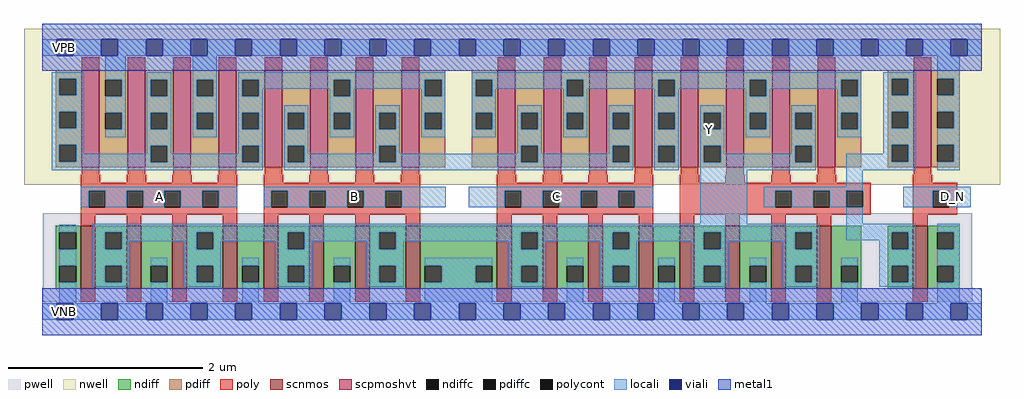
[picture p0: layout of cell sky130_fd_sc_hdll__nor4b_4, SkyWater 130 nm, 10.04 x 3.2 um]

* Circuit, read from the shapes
.subckt sky130_fd_sc_hdll__nor4b_4 A B C D_N VGND VNB VPB VPWR Y
XM1 Y A VGND VNB sky130_fd_pr__nfet_01v8 w=0.65 l=0.15 m=4
XM2 Y B VGND VNB sky130_fd_pr__nfet_01v8 w=0.65 l=0.15 m=4
XM3 Y C VGND VNB sky130_fd_pr__nfet_01v8 w=0.65 l=0.15 m=4
XM4 Y n1 VGND VNB sky130_fd_pr__nfet_01v8 w=0.65 l=0.15 m=4
XM5 VGND D_N n1 VNB sky130_fd_pr__nfet_01v8 w=0.65 l=0.15
XM6 VPWR A n2 VPB sky130_fd_pr__pfet_01v8_hvt w=1 l=0.18 m=4
XM7 n3 B n2 VPB sky130_fd_pr__pfet_01v8_hvt w=1 l=0.18 m=4
XM8 n3 C n4 VPB sky130_fd_pr__pfet_01v8_hvt w=1 l=0.18 m=4
XM9 Y n1 n4 VPB sky130_fd_pr__pfet_01v8_hvt w=1 l=0.18 m=4
XM10 VPWR D_N n1 VPB sky130_fd_pr__pfet_01v8_hvt w=1 l=0.18
.ends

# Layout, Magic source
magic
tech sky130A
magscale 1 2
<< nwell >>
rect -38 261 1970 582
<< pwell >>
rect 1 21 1913 203
rect 29 -17 63 21
<< scnmos >>
rect 79 47 109 177
rect 173 47 203 177
rect 267 47 297 177
rect 371 47 401 177
rect 455 47 485 177
rect 549 47 579 177
rect 643 47 673 177
rect 747 47 777 177
rect 935 47 965 177
rect 1029 47 1059 177
rect 1123 47 1153 177
rect 1227 47 1257 177
rect 1311 47 1341 177
rect 1405 47 1435 177
rect 1499 47 1529 177
rect 1593 47 1623 177
rect 1791 47 1821 177
<< scpmoshvt >>
rect 81 297 117 497
rect 175 297 211 497
rect 269 297 305 497
rect 363 297 399 497
rect 457 297 493 497
rect 551 297 587 497
rect 645 297 681 497
rect 739 297 775 497
rect 937 297 973 497
rect 1031 297 1067 497
rect 1125 297 1161 497
rect 1219 297 1255 497
rect 1313 297 1349 497
rect 1407 297 1443 497
rect 1501 297 1537 497
rect 1595 297 1631 497
rect 1793 297 1829 497
<< ndiff >>
rect 27 163 79 177
rect 27 129 35 163
rect 69 129 79 163
rect 27 95 79 129
rect 27 61 35 95
rect 69 61 79 95
rect 27 47 79 61
rect 109 163 173 177
rect 109 129 129 163
rect 163 129 173 163
rect 109 95 173 129
rect 109 61 129 95
rect 163 61 173 95
rect 109 47 173 61
rect 203 95 267 177
rect 203 61 223 95
rect 257 61 267 95
rect 203 47 267 61
rect 297 163 371 177
rect 297 129 317 163
rect 351 129 371 163
rect 297 95 371 129
rect 297 61 317 95
rect 351 61 371 95
rect 297 47 371 61
rect 401 95 455 177
rect 401 61 411 95
rect 445 61 455 95
rect 401 47 455 61
rect 485 163 549 177
rect 485 129 505 163
rect 539 129 549 163
rect 485 95 549 129
rect 485 61 505 95
rect 539 61 549 95
rect 485 47 549 61
rect 579 95 643 177
rect 579 61 599 95
rect 633 61 643 95
rect 579 47 643 61
rect 673 163 747 177
rect 673 129 693 163
rect 727 129 747 163
rect 673 95 747 129
rect 673 61 693 95
rect 727 61 747 95
rect 673 47 747 61
rect 777 95 935 177
rect 777 61 787 95
rect 821 61 891 95
rect 925 61 935 95
rect 777 47 935 61
rect 965 163 1029 177
rect 965 129 985 163
rect 1019 129 1029 163
rect 965 95 1029 129
rect 965 61 985 95
rect 1019 61 1029 95
rect 965 47 1029 61
rect 1059 95 1123 177
rect 1059 61 1079 95
rect 1113 61 1123 95
rect 1059 47 1123 61
rect 1153 163 1227 177
rect 1153 129 1173 163
rect 1207 129 1227 163
rect 1153 95 1227 129
rect 1153 61 1173 95
rect 1207 61 1227 95
rect 1153 47 1227 61
rect 1257 95 1311 177
rect 1257 61 1267 95
rect 1301 61 1311 95
rect 1257 47 1311 61
rect 1341 163 1405 177
rect 1341 129 1361 163
rect 1395 129 1405 163
rect 1341 95 1405 129
rect 1341 61 1361 95
rect 1395 61 1405 95
rect 1341 47 1405 61
rect 1435 95 1499 177
rect 1435 61 1455 95
rect 1489 61 1499 95
rect 1435 47 1499 61
rect 1529 163 1593 177
rect 1529 129 1549 163
rect 1583 129 1593 163
rect 1529 95 1593 129
rect 1529 61 1549 95
rect 1583 61 1593 95
rect 1529 47 1593 61
rect 1623 95 1685 177
rect 1623 61 1643 95
rect 1677 61 1685 95
rect 1623 47 1685 61
rect 1739 163 1791 177
rect 1739 129 1747 163
rect 1781 129 1791 163
rect 1739 95 1791 129
rect 1739 61 1747 95
rect 1781 61 1791 95
rect 1739 47 1791 61
rect 1821 163 1887 177
rect 1821 129 1841 163
rect 1875 129 1887 163
rect 1821 95 1887 129
rect 1821 61 1841 95
rect 1875 61 1887 95
rect 1821 47 1887 61
<< pdiff >>
rect 27 479 81 497
rect 27 445 35 479
rect 69 445 81 479
rect 27 411 81 445
rect 27 377 35 411
rect 69 377 81 411
rect 27 343 81 377
rect 27 309 35 343
rect 69 309 81 343
rect 27 297 81 309
rect 117 477 175 497
rect 117 443 129 477
rect 163 443 175 477
rect 117 409 175 443
rect 117 375 129 409
rect 163 375 175 409
rect 117 297 175 375
rect 211 477 269 497
rect 211 443 223 477
rect 257 443 269 477
rect 211 409 269 443
rect 211 375 223 409
rect 257 375 269 409
rect 211 341 269 375
rect 211 307 223 341
rect 257 307 269 341
rect 211 297 269 307
rect 305 477 363 497
rect 305 443 317 477
rect 351 443 363 477
rect 305 409 363 443
rect 305 375 317 409
rect 351 375 363 409
rect 305 297 363 375
rect 399 477 457 497
rect 399 443 411 477
rect 445 443 457 477
rect 399 409 457 443
rect 399 375 411 409
rect 445 375 457 409
rect 399 341 457 375
rect 399 307 411 341
rect 445 307 457 341
rect 399 297 457 307
rect 493 409 551 497
rect 493 375 505 409
rect 539 375 551 409
rect 493 341 551 375
rect 493 307 505 341
rect 539 307 551 341
rect 493 297 551 307
rect 587 477 645 497
rect 587 443 599 477
rect 633 443 645 477
rect 587 409 645 443
rect 587 375 599 409
rect 633 375 645 409
rect 587 297 645 375
rect 681 409 739 497
rect 681 375 693 409
rect 727 375 739 409
rect 681 341 739 375
rect 681 307 693 341
rect 727 307 739 341
rect 681 297 739 307
rect 775 477 829 497
rect 775 443 787 477
rect 821 443 829 477
rect 775 409 829 443
rect 775 375 787 409
rect 821 375 829 409
rect 775 297 829 375
rect 883 477 937 497
rect 883 443 891 477
rect 925 443 937 477
rect 883 409 937 443
rect 883 375 891 409
rect 925 375 937 409
rect 883 297 937 375
rect 973 409 1031 497
rect 973 375 985 409
rect 1019 375 1031 409
rect 973 341 1031 375
rect 973 307 985 341
rect 1019 307 1031 341
rect 973 297 1031 307
rect 1067 477 1125 497
rect 1067 443 1079 477
rect 1113 443 1125 477
rect 1067 409 1125 443
rect 1067 375 1079 409
rect 1113 375 1125 409
rect 1067 297 1125 375
rect 1161 409 1219 497
rect 1161 375 1173 409
rect 1207 375 1219 409
rect 1161 341 1219 375
rect 1161 307 1173 341
rect 1207 307 1219 341
rect 1161 297 1219 307
rect 1255 477 1313 497
rect 1255 443 1267 477
rect 1301 443 1313 477
rect 1255 409 1313 443
rect 1255 375 1267 409
rect 1301 375 1313 409
rect 1255 341 1313 375
rect 1255 307 1267 341
rect 1301 307 1313 341
rect 1255 297 1313 307
rect 1349 409 1407 497
rect 1349 375 1361 409
rect 1395 375 1407 409
rect 1349 341 1407 375
rect 1349 307 1361 341
rect 1395 307 1407 341
rect 1349 297 1407 307
rect 1443 477 1501 497
rect 1443 443 1455 477
rect 1489 443 1501 477
rect 1443 409 1501 443
rect 1443 375 1455 409
rect 1489 375 1501 409
rect 1443 297 1501 375
rect 1537 409 1595 497
rect 1537 375 1549 409
rect 1583 375 1595 409
rect 1537 341 1595 375
rect 1537 307 1549 341
rect 1583 307 1595 341
rect 1537 297 1595 307
rect 1631 477 1685 497
rect 1631 443 1643 477
rect 1677 443 1685 477
rect 1631 409 1685 443
rect 1631 375 1643 409
rect 1677 375 1685 409
rect 1631 297 1685 375
rect 1739 479 1793 497
rect 1739 445 1747 479
rect 1781 445 1793 479
rect 1739 411 1793 445
rect 1739 377 1747 411
rect 1781 377 1793 411
rect 1739 343 1793 377
rect 1739 309 1747 343
rect 1781 309 1793 343
rect 1739 297 1793 309
rect 1829 479 1887 497
rect 1829 445 1841 479
rect 1875 445 1887 479
rect 1829 411 1887 445
rect 1829 377 1841 411
rect 1875 377 1887 411
rect 1829 343 1887 377
rect 1829 309 1841 343
rect 1875 309 1887 343
rect 1829 297 1887 309
<< ndiffc >>
rect 35 129 69 163
rect 35 61 69 95
rect 129 129 163 163
rect 129 61 163 95
rect 223 61 257 95
rect 317 129 351 163
rect 317 61 351 95
rect 411 61 445 95
rect 505 129 539 163
rect 505 61 539 95
rect 599 61 633 95
rect 693 129 727 163
rect 693 61 727 95
rect 787 61 821 95
rect 891 61 925 95
rect 985 129 1019 163
rect 985 61 1019 95
rect 1079 61 1113 95
rect 1173 129 1207 163
rect 1173 61 1207 95
rect 1267 61 1301 95
rect 1361 129 1395 163
rect 1361 61 1395 95
rect 1455 61 1489 95
rect 1549 129 1583 163
rect 1549 61 1583 95
rect 1643 61 1677 95
rect 1747 129 1781 163
rect 1747 61 1781 95
rect 1841 129 1875 163
rect 1841 61 1875 95
<< pdiffc >>
rect 35 445 69 479
rect 35 377 69 411
rect 35 309 69 343
rect 129 443 163 477
rect 129 375 163 409
rect 223 443 257 477
rect 223 375 257 409
rect 223 307 257 341
rect 317 443 351 477
rect 317 375 351 409
rect 411 443 445 477
rect 411 375 445 409
rect 411 307 445 341
rect 505 375 539 409
rect 505 307 539 341
rect 599 443 633 477
rect 599 375 633 409
rect 693 375 727 409
rect 693 307 727 341
rect 787 443 821 477
rect 787 375 821 409
rect 891 443 925 477
rect 891 375 925 409
rect 985 375 1019 409
rect 985 307 1019 341
rect 1079 443 1113 477
rect 1079 375 1113 409
rect 1173 375 1207 409
rect 1173 307 1207 341
rect 1267 443 1301 477
rect 1267 375 1301 409
rect 1267 307 1301 341
rect 1361 375 1395 409
rect 1361 307 1395 341
rect 1455 443 1489 477
rect 1455 375 1489 409
rect 1549 375 1583 409
rect 1549 307 1583 341
rect 1643 443 1677 477
rect 1643 375 1677 409
rect 1747 445 1781 479
rect 1747 377 1781 411
rect 1747 309 1781 343
rect 1841 445 1875 479
rect 1841 377 1875 411
rect 1841 309 1875 343
<< poly >>
rect 81 497 117 523
rect 175 497 211 523
rect 269 497 305 523
rect 363 497 399 523
rect 457 497 493 523
rect 551 497 587 523
rect 645 497 681 523
rect 739 497 775 523
rect 937 497 973 523
rect 1031 497 1067 523
rect 1125 497 1161 523
rect 1219 497 1255 523
rect 1313 497 1349 523
rect 1407 497 1443 523
rect 1501 497 1537 523
rect 1595 497 1631 523
rect 1793 497 1829 523
rect 81 282 117 297
rect 175 282 211 297
rect 269 282 305 297
rect 363 282 399 297
rect 457 282 493 297
rect 551 282 587 297
rect 645 282 681 297
rect 739 282 775 297
rect 937 282 973 297
rect 1031 282 1067 297
rect 1125 282 1161 297
rect 1219 282 1255 297
rect 1313 282 1349 297
rect 1407 282 1443 297
rect 1501 282 1537 297
rect 1595 282 1631 297
rect 1793 282 1829 297
rect 79 265 119 282
rect 173 265 213 282
rect 267 265 307 282
rect 361 265 401 282
rect 79 249 401 265
rect 79 215 95 249
rect 129 215 173 249
rect 207 215 251 249
rect 285 215 329 249
rect 363 215 401 249
rect 79 199 401 215
rect 79 177 109 199
rect 173 177 203 199
rect 267 177 297 199
rect 371 177 401 199
rect 455 265 495 282
rect 549 265 589 282
rect 643 265 683 282
rect 737 265 777 282
rect 455 249 777 265
rect 455 215 471 249
rect 505 215 549 249
rect 583 215 627 249
rect 661 215 705 249
rect 739 215 777 249
rect 455 199 777 215
rect 455 177 485 199
rect 549 177 579 199
rect 643 177 673 199
rect 747 177 777 199
rect 935 265 975 282
rect 1029 265 1069 282
rect 1123 265 1163 282
rect 1217 265 1257 282
rect 935 249 1257 265
rect 935 215 951 249
rect 985 215 1029 249
rect 1063 215 1107 249
rect 1141 215 1185 249
rect 1219 215 1257 249
rect 935 199 1257 215
rect 935 177 965 199
rect 1029 177 1059 199
rect 1123 177 1153 199
rect 1227 177 1257 199
rect 1311 265 1351 282
rect 1405 265 1445 282
rect 1499 265 1539 282
rect 1593 265 1633 282
rect 1791 265 1831 282
rect 1311 249 1704 265
rect 1311 215 1508 249
rect 1542 215 1586 249
rect 1620 215 1654 249
rect 1688 215 1704 249
rect 1311 199 1704 215
rect 1791 249 1882 265
rect 1791 215 1832 249
rect 1866 215 1882 249
rect 1791 199 1882 215
rect 1311 177 1341 199
rect 1405 177 1435 199
rect 1499 177 1529 199
rect 1593 177 1623 199
rect 1791 177 1821 199
rect 79 21 109 47
rect 173 21 203 47
rect 267 21 297 47
rect 371 21 401 47
rect 455 21 485 47
rect 549 21 579 47
rect 643 21 673 47
rect 747 21 777 47
rect 935 21 965 47
rect 1029 21 1059 47
rect 1123 21 1153 47
rect 1227 21 1257 47
rect 1311 21 1341 47
rect 1405 21 1435 47
rect 1499 21 1529 47
rect 1593 21 1623 47
rect 1791 21 1821 47
<< polycont >>
rect 95 215 129 249
rect 173 215 207 249
rect 251 215 285 249
rect 329 215 363 249
rect 471 215 505 249
rect 549 215 583 249
rect 627 215 661 249
rect 705 215 739 249
rect 951 215 985 249
rect 1029 215 1063 249
rect 1107 215 1141 249
rect 1185 215 1219 249
rect 1508 215 1542 249
rect 1586 215 1620 249
rect 1654 215 1688 249
rect 1832 215 1866 249
<< locali >>
rect 0 527 29 561
rect 63 527 121 561
rect 155 527 213 561
rect 247 527 305 561
rect 339 527 397 561
rect 431 527 489 561
rect 523 527 581 561
rect 615 527 673 561
rect 707 527 765 561
rect 799 527 857 561
rect 891 527 949 561
rect 983 527 1041 561
rect 1075 527 1133 561
rect 1167 527 1225 561
rect 1259 527 1317 561
rect 1351 527 1409 561
rect 1443 527 1501 561
rect 1535 527 1593 561
rect 1627 527 1685 561
rect 1719 527 1777 561
rect 1811 527 1869 561
rect 1903 527 1932 561
rect 19 479 85 493
rect 19 445 35 479
rect 69 445 85 479
rect 19 411 85 445
rect 19 377 35 411
rect 69 377 85 411
rect 19 343 85 377
rect 129 477 171 527
rect 163 443 171 477
rect 129 409 171 443
rect 163 375 171 409
rect 129 359 171 375
rect 215 477 265 493
rect 215 443 223 477
rect 257 443 265 477
rect 215 409 265 443
rect 215 375 223 409
rect 257 375 265 409
rect 19 309 35 343
rect 69 325 85 343
rect 215 341 265 375
rect 309 477 359 527
rect 309 443 317 477
rect 351 443 359 477
rect 309 409 359 443
rect 309 375 317 409
rect 351 375 359 409
rect 309 359 359 375
rect 403 477 829 493
rect 403 443 411 477
rect 445 459 599 477
rect 445 443 453 459
rect 403 409 453 443
rect 591 443 599 459
rect 633 459 787 477
rect 633 443 641 459
rect 403 375 411 409
rect 445 375 453 409
rect 215 325 223 341
rect 69 309 223 325
rect 19 307 223 309
rect 257 325 265 341
rect 403 341 453 375
rect 403 325 411 341
rect 257 307 411 325
rect 445 307 453 341
rect 19 291 453 307
rect 497 409 547 425
rect 497 375 505 409
rect 539 375 547 409
rect 497 341 547 375
rect 591 409 641 443
rect 779 443 787 459
rect 821 443 829 477
rect 591 375 599 409
rect 633 375 641 409
rect 591 359 641 375
rect 685 409 735 425
rect 685 375 693 409
rect 727 375 735 409
rect 497 307 505 341
rect 539 325 547 341
rect 685 341 735 375
rect 779 409 829 443
rect 779 375 787 409
rect 821 375 829 409
rect 779 359 829 375
rect 883 477 1685 493
rect 883 443 891 477
rect 925 459 1079 477
rect 925 443 933 459
rect 883 409 933 443
rect 1071 443 1079 459
rect 1113 459 1267 477
rect 1113 443 1121 459
rect 883 375 891 409
rect 925 375 933 409
rect 883 359 933 375
rect 977 409 1027 425
rect 977 375 985 409
rect 1019 375 1027 409
rect 685 325 693 341
rect 539 307 693 325
rect 727 325 735 341
rect 977 341 1027 375
rect 1071 409 1121 443
rect 1259 443 1267 459
rect 1301 459 1455 477
rect 1301 443 1309 459
rect 1071 375 1079 409
rect 1113 375 1121 409
rect 1071 359 1121 375
rect 1165 409 1215 425
rect 1165 375 1173 409
rect 1207 375 1215 409
rect 977 325 985 341
rect 727 307 985 325
rect 1019 325 1027 341
rect 1165 341 1215 375
rect 1165 325 1173 341
rect 1019 307 1173 325
rect 1207 307 1215 341
rect 497 291 1215 307
rect 1259 409 1309 443
rect 1447 443 1455 459
rect 1489 459 1643 477
rect 1489 443 1497 459
rect 1259 375 1267 409
rect 1301 375 1309 409
rect 1259 341 1309 375
rect 1259 307 1267 341
rect 1301 307 1309 341
rect 1259 291 1309 307
rect 1353 409 1403 425
rect 1353 375 1361 409
rect 1395 375 1403 409
rect 1353 341 1403 375
rect 1447 409 1497 443
rect 1635 443 1643 459
rect 1677 443 1685 477
rect 1447 375 1455 409
rect 1489 375 1497 409
rect 1447 359 1497 375
rect 1541 409 1591 425
rect 1541 375 1549 409
rect 1583 375 1591 409
rect 1353 307 1361 341
rect 1395 325 1403 341
rect 1541 341 1591 375
rect 1635 409 1685 443
rect 1635 375 1643 409
rect 1677 375 1685 409
rect 1635 359 1685 375
rect 1730 479 1797 493
rect 1730 445 1747 479
rect 1781 445 1797 479
rect 1730 411 1797 445
rect 1730 377 1747 411
rect 1781 377 1797 411
rect 1541 325 1549 341
rect 1395 307 1549 325
rect 1583 307 1591 341
rect 1730 343 1797 377
rect 1730 325 1747 343
rect 1353 291 1591 307
rect 1654 309 1747 325
rect 1781 309 1797 343
rect 1654 291 1797 309
rect 1841 479 1887 527
rect 1875 445 1887 479
rect 1841 411 1887 445
rect 1875 377 1887 411
rect 1841 343 1887 377
rect 1875 309 1887 343
rect 1841 291 1887 309
rect 79 249 401 257
rect 79 215 95 249
rect 129 215 173 249
rect 207 215 251 249
rect 285 215 329 249
rect 363 215 401 249
rect 455 249 830 257
rect 455 215 471 249
rect 505 215 549 249
rect 583 215 627 249
rect 661 215 705 249
rect 739 215 830 249
rect 877 249 1257 257
rect 877 215 951 249
rect 985 215 1029 249
rect 1063 215 1107 249
rect 1141 215 1185 249
rect 1219 215 1257 249
rect 1353 181 1450 291
rect 1654 257 1688 291
rect 1484 249 1688 257
rect 1484 215 1508 249
rect 1542 215 1586 249
rect 1620 215 1654 249
rect 1771 249 1910 257
rect 1771 215 1832 249
rect 1866 215 1910 249
rect 1654 181 1688 215
rect 35 163 69 179
rect 35 95 69 129
rect 35 17 69 61
rect 103 163 1599 181
rect 103 129 129 163
rect 163 145 317 163
rect 163 129 179 145
rect 103 95 179 129
rect 291 129 317 145
rect 351 145 505 163
rect 351 129 367 145
rect 103 61 129 95
rect 163 61 179 95
rect 103 51 179 61
rect 223 95 257 111
rect 223 17 257 61
rect 291 95 367 129
rect 479 129 505 145
rect 539 145 693 163
rect 539 129 555 145
rect 291 61 317 95
rect 351 61 367 95
rect 291 51 367 61
rect 411 95 445 111
rect 411 17 445 61
rect 479 95 555 129
rect 667 129 693 145
rect 727 145 985 163
rect 727 129 743 145
rect 479 61 505 95
rect 539 61 555 95
rect 479 51 555 61
rect 599 95 633 111
rect 599 17 633 61
rect 667 95 743 129
rect 959 129 985 145
rect 1019 145 1173 163
rect 1019 129 1035 145
rect 667 61 693 95
rect 727 61 743 95
rect 667 51 743 61
rect 787 95 925 111
rect 821 61 891 95
rect 787 17 925 61
rect 959 95 1035 129
rect 1147 129 1173 145
rect 1207 145 1361 163
rect 1207 129 1223 145
rect 959 61 985 95
rect 1019 61 1035 95
rect 959 51 1035 61
rect 1079 95 1113 111
rect 1079 17 1113 61
rect 1147 95 1223 129
rect 1335 129 1361 145
rect 1395 145 1549 163
rect 1395 129 1411 145
rect 1147 61 1173 95
rect 1207 61 1223 95
rect 1147 51 1223 61
rect 1267 95 1301 111
rect 1267 17 1301 61
rect 1335 95 1411 129
rect 1523 129 1549 145
rect 1583 129 1599 163
rect 1654 163 1797 181
rect 1654 147 1747 163
rect 1335 61 1361 95
rect 1395 61 1411 95
rect 1335 51 1411 61
rect 1455 95 1489 111
rect 1455 17 1489 61
rect 1523 95 1599 129
rect 1722 129 1747 147
rect 1781 129 1797 163
rect 1523 61 1549 95
rect 1583 61 1599 95
rect 1523 51 1599 61
rect 1643 95 1677 111
rect 1643 17 1677 61
rect 1722 95 1797 129
rect 1722 61 1747 95
rect 1781 61 1797 95
rect 1722 51 1797 61
rect 1841 163 1887 181
rect 1875 129 1887 163
rect 1841 95 1887 129
rect 1875 61 1887 95
rect 1841 17 1887 61
rect 0 -17 29 17
rect 63 -17 121 17
rect 155 -17 213 17
rect 247 -17 305 17
rect 339 -17 397 17
rect 431 -17 489 17
rect 523 -17 581 17
rect 615 -17 673 17
rect 707 -17 765 17
rect 799 -17 857 17
rect 891 -17 949 17
rect 983 -17 1041 17
rect 1075 -17 1133 17
rect 1167 -17 1225 17
rect 1259 -17 1317 17
rect 1351 -17 1409 17
rect 1443 -17 1501 17
rect 1535 -17 1593 17
rect 1627 -17 1685 17
rect 1719 -17 1777 17
rect 1811 -17 1869 17
rect 1903 -17 1932 17
<< viali >>
rect 29 527 63 561
rect 121 527 155 561
rect 213 527 247 561
rect 305 527 339 561
rect 397 527 431 561
rect 489 527 523 561
rect 581 527 615 561
rect 673 527 707 561
rect 765 527 799 561
rect 857 527 891 561
rect 949 527 983 561
rect 1041 527 1075 561
rect 1133 527 1167 561
rect 1225 527 1259 561
rect 1317 527 1351 561
rect 1409 527 1443 561
rect 1501 527 1535 561
rect 1593 527 1627 561
rect 1685 527 1719 561
rect 1777 527 1811 561
rect 1869 527 1903 561
rect 29 -17 63 17
rect 121 -17 155 17
rect 213 -17 247 17
rect 305 -17 339 17
rect 397 -17 431 17
rect 489 -17 523 17
rect 581 -17 615 17
rect 673 -17 707 17
rect 765 -17 799 17
rect 857 -17 891 17
rect 949 -17 983 17
rect 1041 -17 1075 17
rect 1133 -17 1167 17
rect 1225 -17 1259 17
rect 1317 -17 1351 17
rect 1409 -17 1443 17
rect 1501 -17 1535 17
rect 1593 -17 1627 17
rect 1685 -17 1719 17
rect 1777 -17 1811 17
rect 1869 -17 1903 17
<< metal1 >>
rect 0 561 1932 592
rect 0 527 29 561
rect 63 527 121 561
rect 155 527 213 561
rect 247 527 305 561
rect 339 527 397 561
rect 431 527 489 561
rect 523 527 581 561
rect 615 527 673 561
rect 707 527 765 561
rect 799 527 857 561
rect 891 527 949 561
rect 983 527 1041 561
rect 1075 527 1133 561
rect 1167 527 1225 561
rect 1259 527 1317 561
rect 1351 527 1409 561
rect 1443 527 1501 561
rect 1535 527 1593 561
rect 1627 527 1685 561
rect 1719 527 1777 561
rect 1811 527 1869 561
rect 1903 527 1932 561
rect 0 496 1932 527
rect 0 17 1932 48
rect 0 -17 29 17
rect 63 -17 121 17
rect 155 -17 213 17
rect 247 -17 305 17
rect 339 -17 397 17
rect 431 -17 489 17
rect 523 -17 581 17
rect 615 -17 673 17
rect 707 -17 765 17
rect 799 -17 857 17
rect 891 -17 949 17
rect 983 -17 1041 17
rect 1075 -17 1133 17
rect 1167 -17 1225 17
rect 1259 -17 1317 17
rect 1351 -17 1409 17
rect 1443 -17 1501 17
rect 1535 -17 1593 17
rect 1627 -17 1685 17
rect 1719 -17 1777 17
rect 1811 -17 1869 17
rect 1903 -17 1932 17
rect 0 -48 1932 -17
<< labels >>
flabel locali s 455 215 830 257 0 FreeSans 400 0 0 0 B
port 2 nsew signal input
flabel locali s 79 215 401 257 0 FreeSans 400 0 0 0 A
port 1 nsew signal input
flabel locali s 1856 221 1890 255 0 FreeSans 400 0 0 0 D_N
port 4 nsew signal input
flabel locali s 1039 221 1075 255 0 FreeSans 400 0 0 0 C
port 3 nsew signal input
flabel locali s 1356 357 1390 391 0 FreeSans 400 0 0 0 Y
port 9 nsew signal output
flabel nwell s 29 527 63 561 0 FreeSans 200 0 0 0 VPB
port 7 nsew power bidirectional
flabel pwell s 29 -17 63 17 0 FreeSans 200 0 0 0 VNB
port 6 nsew ground bidirectional
flabel metal1 s 29 -17 63 17 0 FreeSans 200 0 0 0 VGND
port 5 nsew ground bidirectional
flabel metal1 s 29 527 63 561 0 FreeSans 200 0 0 0 VPWR
port 8 nsew power bidirectional
rlabel comment s 0 0 0 0 4 nor4b_4
<< properties >>
string LEFsite unithd
string LEFclass CORE
string FIXED_BBOX 0 0 1932 544
string GDS_FILE $PDKPATH/libs.ref/sky130_fd_sc_hdll/gds/sky130_fd_sc_hdll.gds
string LEFsymmetry X Y R90
string GDS_END 816162
string GDS_START 801836
string LEFproperties maskLayoutSubType "abstract" prCellType "standard" originalViewName "layout"
<< end >>
